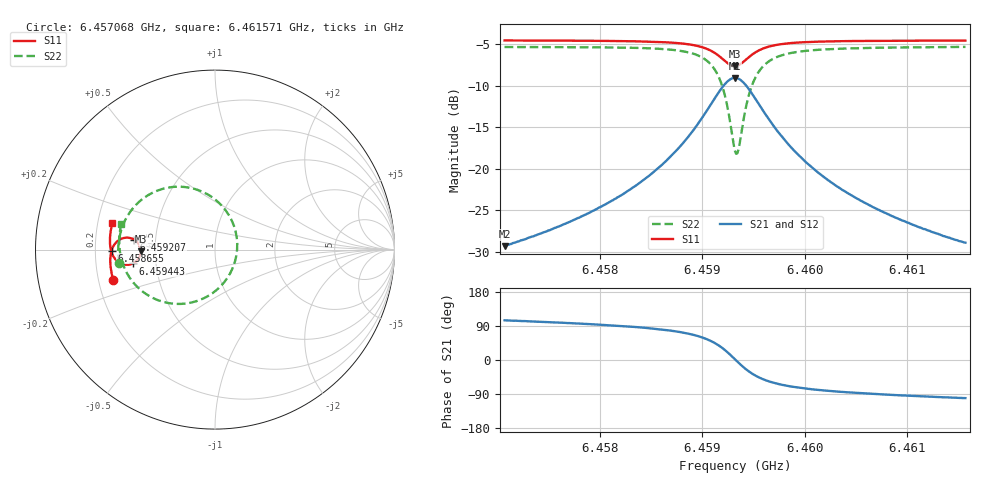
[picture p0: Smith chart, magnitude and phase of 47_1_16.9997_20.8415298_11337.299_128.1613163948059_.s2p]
#  HZ  S  RI  R  50.00
! Rohde & Schwarz Vector Network Analyzer
! Rohde-Schwarz,ZNB20-2Port,1311601062101988,3.16
! Created: UTC 3/20/2024, 10:54:08 PM
! freq[Hz]  re:S11  im:S11  re:S21  im:S21  re:S12  im:S12  re:S22  im:S22
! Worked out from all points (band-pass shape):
!   401 points, 6.457068 GHz to 6.461571 GHz, reference 50 ohm
!   highest |S21| = -9.06 dB at 6.459319 GHz (marker M1); lowest = -29.3 dB at 6.457068 GHz (marker M2)
!   |S21| within 3 dB of the highest: 6.459093 GHz to 6.459544 GHz (450.2 kHz wide, 0.00697 % of centre)
!   lowest |S11| = -7.7 dB at 6.459319 GHz (marker M3), VSWR 2.41, Z = 20.7 - j0.491 ohm
!   |S11| at or under -10 dB: nowhere
!   |S22| runs from -18.2 to -5.3 dB; largest |S21 - S12| = 0.014
!   S11 on the Smith chart (normalised r, x): 6.457068 GHz: 0.26, -0.13; 6.458655 GHz: 0.27, -0.00; 6.459207 GHz: 0.38, +0.05; 6.459443 GHz: 0.37, -0.07; 6.461571 GHz: 0.26, +0.12
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6.4570676e9  -0.568 -0.1667  -0.00869 0.0331  -0.00687 0.0332  -0.5351 -0.0757
6.4578219e9  -0.5811 -0.1001  -0.00514 0.0516  -0.00253 0.0509  -0.5389 0.0139
6.4582272e9  -0.5835 -0.0593  0.000782 0.0705  0.00407 0.0692  -0.5301 0.0791
6.4585762e9  -0.5793 -0.017  0.0153 0.1007  0.0194 0.0979  -0.5029 0.1592
6.458655e9  -0.5765 -0.00591  0.0219 0.1108  0.026 0.1074  -0.4904 0.1829
6.4588463e9  -0.5628 0.0249  0.0509 0.1429  0.0548 0.1377  -0.4362 0.2534
6.4589814e9  -0.5407 0.0492  0.0949 0.1714  0.0979 0.1646  -0.355 0.3133
6.4591165e9  -0.4957 0.0665  0.184 0.1875  0.1849 0.1801  -0.1918 0.3502
6.4592066e9  -0.4501 0.0552  0.2757 0.1544  0.2759 0.1489  -0.0225 0.2963
6.4592741e9  -0.4207 0.0221  0.3364 0.0805  0.3388 0.0752  0.0933 0.162
6.4593192e9  -0.414 -0.00982  0.3523 0.0109  0.3561 0.00387  0.1239 0.0319
6.4593529e9  -0.4182 -0.034  0.3458 -0.0423  0.3499 -0.0517  0.1105 -0.0693
6.459398e9  -0.4344 -0.0605  0.3158 -0.1029  0.3182 -0.1152  0.0499 -0.1835
6.459443e9  -0.457 -0.077  0.2726 -0.1442  0.2717 -0.1577  -0.0377 -0.258
6.4595331e9  -0.5012 -0.0841  0.1862 -0.1749  0.1798 -0.1866  -0.2098 -0.3026
6.4596006e9  -0.5258 -0.0766  0.1371 -0.1725  0.1289 -0.1815  -0.3045 -0.2865
6.4596794e9  -0.5457 -0.0635  0.0972 -0.1601  0.0883 -0.1663  -0.3793 -0.2508
6.459837e9  -0.5675 -0.0358  0.0516 -0.1312  0.0439 -0.1342  -0.4603 -0.177
6.4600734e9  -0.5805 -0.00018  0.0223 -0.099  0.0164 -0.0997  -0.5082 -0.0935
6.4603999e9  -0.5853 0.0392  0.00642 -0.0724  0.0024 -0.0719  -0.5291 -0.016
6.4608277e9  -0.5834 0.0827  -0.00169 -0.0529  -0.00446 -0.052  -0.5335 0.0542
6.4615707e9  -0.5719 0.1488  -0.00659 -0.0353  -0.00839 -0.0343  -0.5221 0.1432
